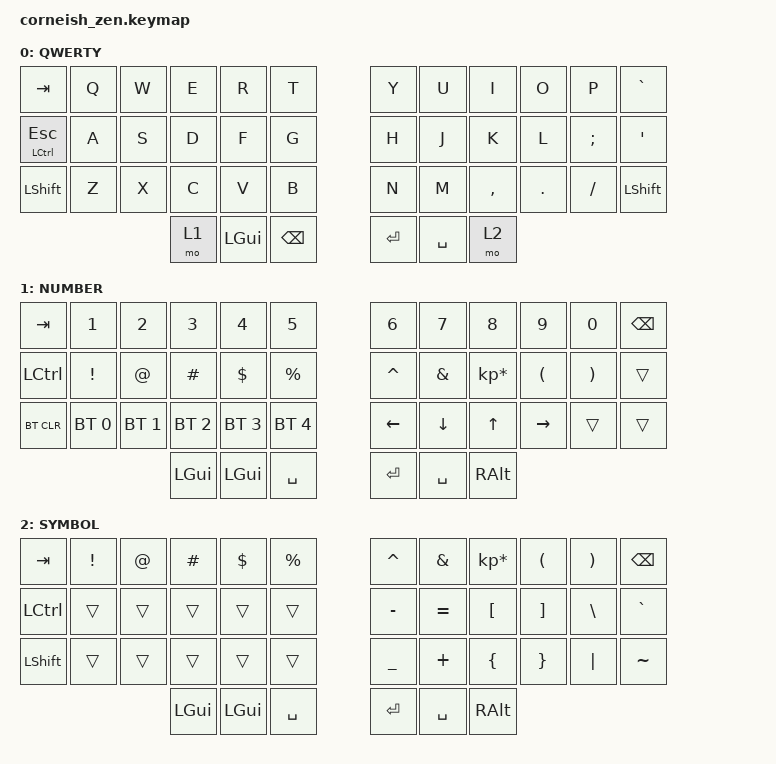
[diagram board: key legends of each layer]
#include <behaviors.dtsi>
#include <dt-bindings/zmk/keys.h>
#include <dt-bindings/zmk/bt.h>

/ {
  chosen {
    zmk,matrix_transform = &default_transform;
    //zmk,matrix_transform = &five_column_transform;
  };
};

/ {
        keymap {
                compatible = "zmk,keymap";

                default_layer {
                        label = "QWERTY";
// -----------------------------------------------------------------------------------------
// |  TAB |  Q  |  W  |  E  |  R  |  T  |   |  Y  |  U   |  I  |  O  |  P  | ` |
// | CTRL/esc |  A  |  S  |  D  |  F  |  G  |   |  H  |  J   |  K  |  L  |  ;  |  '   |
// | SHFT |  Z  |  X  |  C  |  V  |  B  |   |  N  |  M   |  ,  |  .  |  /  | SHFT  |
//                    | LWR | GUI | BKSP |   | ENT | SPC  | UPR |
                        bindings = <
   &kp TAB   &kp Q &kp W &kp E &kp R &kp T   &kp Y &kp U  &kp I     &kp O   &kp P    &kp GRAVE
   &mt LCTRL ESC &kp A &kp S &kp D &kp F &kp G   &kp H &kp J  &kp K     &kp L   &kp SEMI &kp SQT
   &kp LSHFT &kp Z &kp X &kp C &kp V &kp B   &kp N &kp M  &kp COMMA &kp DOT &kp FSLH &kp LSHFT
                  &mo 1 &kp LGUI &kp BSPC   &kp RET &kp SPACE &mo 2 
                        >;
                };
                lower_layer {
                        label = "NUMBER";
// -----------------------------------------------------------------------------------------
// |  TAB |  1  |  2  |  3  |  4  |  5  |   |  6  |  7  |  8  |  9  |  0  | BKSP |
// | ctrl |  !  |  @  |  #  |  $  |  %  |   | ^ | & |  * | ( |  )   |      |
// | BTCLR| BT1 | BT2 | BT3 | BT4 | BT5 |   | LFT | DWN |  UP | RGT |     |      |
//                    | GUI | GUI | SPC |   | ENT | SPC | ALT |
                        bindings = <
   &kp TAB    &kp N1       &kp N2       &kp N3       &kp N4       &kp N5         &kp N6   &kp N7   &kp N8 &kp N9    &kp N0 &kp BSPC
   &kp LCTRL &kp EXCL &kp AT &kp HASH &kp DLLR &kp PRCNT   &kp CARET &kp AMPS  &kp KP_MULTIPLY &kp LPAR &kp RPAR &trans
   &bt BT_CLR &bt BT_SEL 0 &bt BT_SEL 1 &bt BT_SEL 2 &bt BT_SEL 3 &bt BT_SEL 4   &kp LEFT &kp DOWN &kp UP &kp RIGHT    &trans &trans
                        	        &kp LGUI     &kp LGUI      &kp SPACE      &kp RET  &kp SPACE  &kp RALT
                                    
                                    
                        >;
                };

                raise_layer {
                        label = "SYMBOL";
// -----------------------------------------------------------------------------------------
// |  TAB |  !  |  @  |  #  |  $  |  %  |   |  ^  |  &  |  *  |  (  |  )  | BKSP |
// | CTRL |     |     |     |     |     |   |  -  |  =  |  [  |  ]  |  \  |  `   |
// | SHFT | BLE |     |     |     |     |   |  _  |  +  |  {  |  }  | "|" |  ~   |
//                    | GUI | GUI | SPC |   | ENT | SPC | ALT |
                        bindings = <
   &kp  TAB  &kp EXCL &kp AT &kp HASH &kp DLLR &kp PRCNT   &kp CARET &kp AMPS  &kp KP_MULTIPLY &kp LPAR &kp RPAR &kp BSPC
   &kp LCTRL &trans   &trans &trans   &trans   &trans      &kp MINUS &kp EQUAL &kp LBKT        &kp RBKT &kp BSLH &kp GRAVE
   &kp LSHFT &trans    &trans &trans   &trans   &trans      &kp UNDER &kp PLUS  &kp LBRC        &kp RBRC &kp PIPE &kp TILDE
                    	     &kp LGUI &kp LGUI  &kp SPACE   &kp RET   &kp SPACE   &kp RALT
                        >;
                };
        };
};
